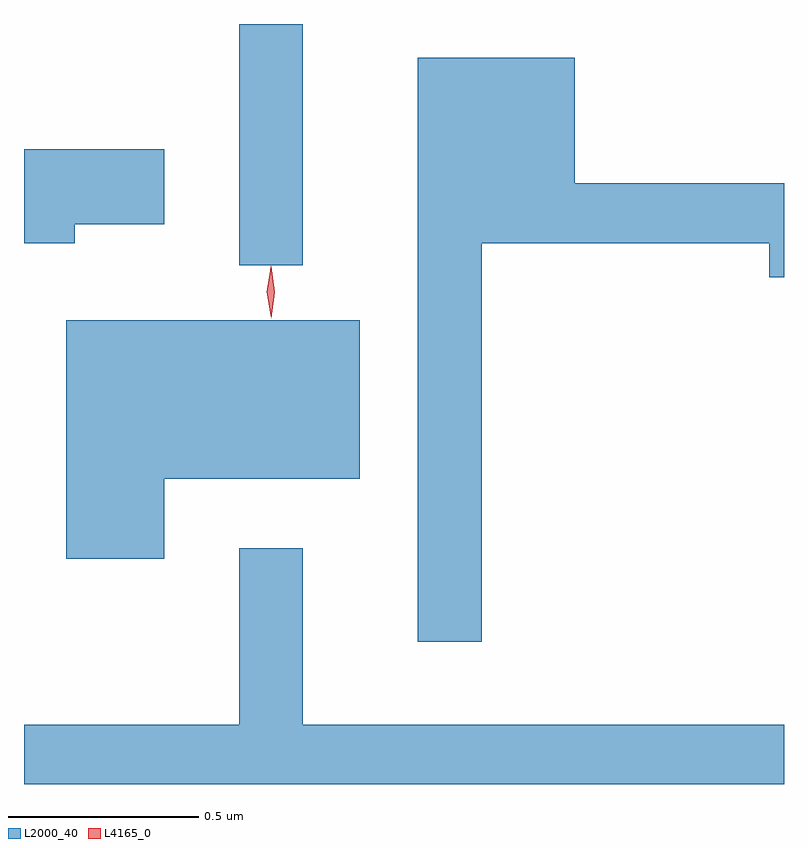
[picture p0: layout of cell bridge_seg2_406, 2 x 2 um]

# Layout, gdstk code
import gdstk
lib = gdstk.Library(unit=1e-6, precision=1e-09)
def R(c, l, rs):  # rectangles x0, y0, x1, y1
    for r in rs: c.add(gdstk.rectangle(r[:2], r[2:], *l))
def P(c, l, *ps):  # polygons
    for p in ps: c.add(gdstk.Polygon(p, *l))
L2000_40 = (2000, 40)
L4165_0 = (4165, 0)

bridge_seg2_406 = lib.new_cell('bridge_seg2_406')
R(bridge_seg2_406, L2000_40, [(639.741,998.733,639.909,999.368)])
P(bridge_seg2_406, L2000_40, [(640.379,998.791),(641.136,998.791),(641.136,998.701),(641.175,998.701),(641.175,998.949),(640.624,998.949),(640.624,999.279),(640.211,999.279),(640.211,997.743),(640.379,997.743)],
  [(639.309,998.841),(639.544,998.841),(639.544,999.039),(639.175,999.039),(639.175,998.791),(639.309,998.791)],
  [(639.544,998.171),(640.059,998.171),(640.059,998.589),(639.286,998.589),(639.286,997.961),(639.544,997.961)],
  [(641.175,997.524),(639.909,997.524),(639.909,997.988),(639.741,997.988),(639.741,997.524),(639.175,997.524),(639.175,997.368),(641.175,997.368)])
P(bridge_seg2_406, L4165_0, [(639.825,998.594),(639.816,998.662),(639.824,998.73),(639.825,998.73),(639.826,998.73),(639.835,998.662),(639.826,998.594),(639.826,998.594)],
  [(639.824,998.601),(639.824,998.602),(639.814,998.664),(639.824,998.726),(639.824,998.727),(639.825,998.726),(639.834,998.664),(639.825,998.602)])

lib.write_gds('bridge_seg2_406.gds')
